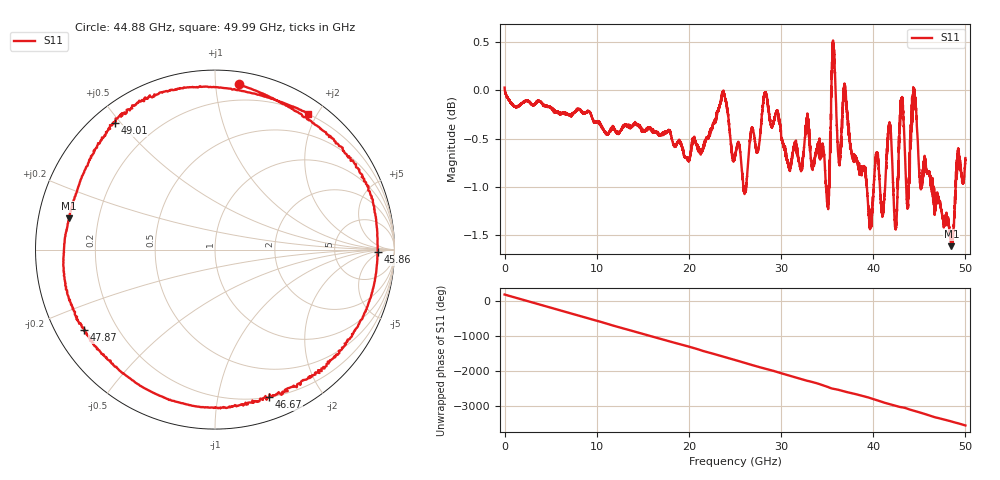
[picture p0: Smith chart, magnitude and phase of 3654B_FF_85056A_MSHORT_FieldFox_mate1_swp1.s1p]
!Created with skrf (http://scikit-rf.org).
# Hz S RI R 50.0
!freq ReS11 ImS11
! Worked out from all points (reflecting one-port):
!   10000 points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, 5.3 MHz to 50 GHz, reference 50 ohm
!   lowest |S11| = -1.6 dB at 48.49 GHz (marker M1), VSWR 10.81, Z = 4.68 + j5.29 ohm
!   phase of S11 starts at 180 deg and turns -3725 deg over the sweep
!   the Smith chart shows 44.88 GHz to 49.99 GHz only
!   S11 on the Smith chart (normalised r, x): 44.88 GHz: 0.08, +1.15; 45.86 GHz: 20, -3; 46.67 GHz: 0.20, -1.42; 47.87 GHz: 0.08, -0.28; 49.01 GHz: 0.07, +0.48; 49.99 GHz: 0.20, +1.88
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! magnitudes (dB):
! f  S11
! 5.3 MHz  0.0
! 6.255 GHz  -0.2
! 12.51 GHz  -0.4
! 18.76 GHz  -0.5
! 23.76 GHz  0.0
! 25.01 GHz  -0.7
! 26.1 GHz  -1.0
! 28.29 GHz  0.0
! 31.26 GHz  -0.7
! 35.05 GHz  -1.1
! 35.69 GHz  0.4
! 36.29 GHz  -0.7
! 36.91 GHz  0.1
! 37.51 GHz  -0.6
! 39.69 GHz  -1.4
! 41.79 GHz  -0.4
! 42.43 GHz  -1.4
! 43.11 GHz  -0.1
! 43.76 GHz  -1.1
! 44.38 GHz  -0.1
! 44.88 GHz  -0.6
! 45.86 GHz  -0.9
! 46.67 GHz  -1.2
! 47.87 GHz  -1.3
! 48.49 GHz  -1.6
! 49.01 GHz  -0.9
! 49.99 GHz  -0.7
! 50 GHz  -0.7
